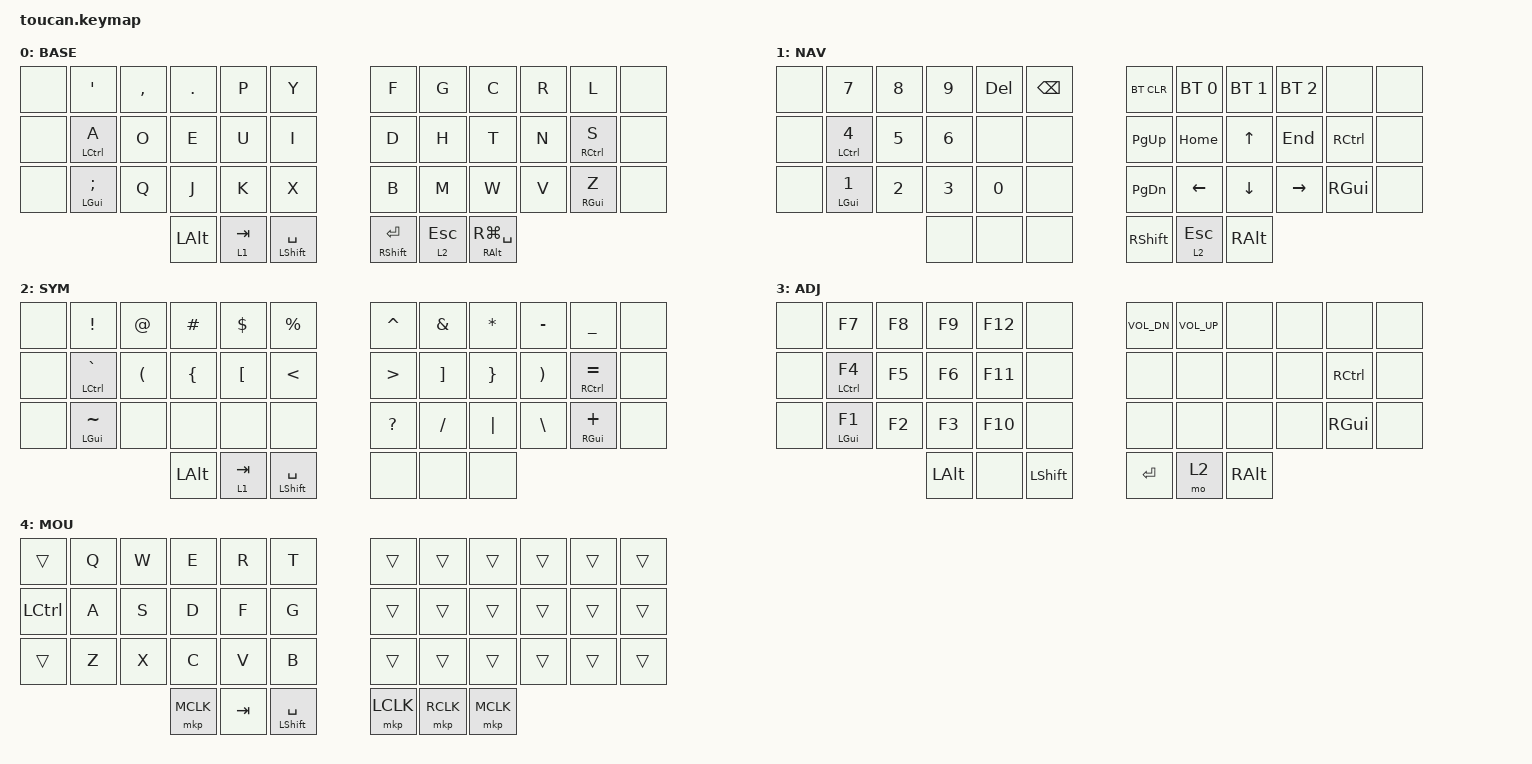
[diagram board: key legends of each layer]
#include <behaviors.dtsi>
#include <dt-bindings/zmk/keys.h>
#include <dt-bindings/zmk/bt.h>
#include <dt-bindings/zmk/outputs.h>
#include <dt-bindings/zmk/pointing.h>

#define BASE 0
#define NAV  1
#define SYM  2
#define ADJ  3

/ {
    conditional_layers {
        compatible = "zmk,conditional-layers";
        tri_layer {
            if-layers = <1 2>;
            then-layer = <3>;
        };
    };

        behaviors {
        mt: mod_tap {
            compatible = "zmk,behavior-hold-tap";
            #binding-cells = <2>;
            flavor = "balanced";
            tapping-term-ms = <180>;
            quick-tap-ms = <150>;
            bindings = <&kp>, <&kp>;
            display-name = "Mod-Tap";
        };
    };

    keymap {
        compatible = "zmk,keymap";

        base {
            display-name = "BASE";
            bindings = <
                 &none &kp SQT       &kp COMMA &kp DOT &kp P &kp Y    &kp F &kp G &kp C &kp R &kp L       &none
                 &none &mt LCTRL A   &kp O     &kp E   &kp U &kp I    &kp D &kp H &kp T &kp N &mt RCTRL S &none
                 &none &mt LGUI SEMI &kp Q     &kp J   &kp K &kp X    &kp B &kp M &kp W &kp V &mt RGUI Z  &none
                               &kp LALT &lt 1 TAB &mt LSHIFT SPACE    &mt RSHIFT RETURN  &lt 2 ESC &mt RALT RG(SPACE)
            >;
        };

        nav {
            display-name = "NAV";
            bindings = <
                &none &kp N7       &kp N8 &kp N9 &kp DEL &kp BSPC    &bt BT_CLR &bt BT_SEL 0 &bt BT_SEL 1 &bt BT_SEL 2 &none     &none
                &none &mt LCTRL N4 &kp N5 &kp N6 &none   &none       &kp PG_UP  &kp HOME     &kp UP       &kp END      &kp RCTRL &none
                &none &mt LGUI N1  &kp N2 &kp N3 &kp N0  &none       &kp PG_DN  &kp LEFT     &kp DOWN     &kp RIGHT    &kp RGUI  &none
                                                &none &none &none    &kp RSHIFT &lt 2 ESC &kp RALT
            >;
        };

        sym {
            display-name = "SYM";
            bindings = <
                &none &kp EXCL        &kp AT   &kp POUND &kp DLLR &kp PRCNT    &kp CARET &kp AMPS &kp STAR &kp MINUS &kp UNDER       &none
                &none &mt LCTRL GRAVE &kp LPAR &kp LBRC  &kp LBKT &kp LT       &kp GT    &kp RBKT &kp RBRC &kp RPAR  &mt RCTRL EQUAL &none
                &none &mt LGUI TILDE  &none    &none     &none    &none        &kp QMARK &kp FSLH &kp PIPE &kp BSLH  &mt RGUI PLUS   &none
                                        &kp LALT &lt 1 TAB &mt LSHIFT SPACE    &none &none &none
            >;
        };

        adj {
            display-name = "ADJ";
            bindings = <
                &none &kp F7       &kp F8 &kp F9 &kp F12 &none    &kp C_VOL_DN &kp C_VOL_UP &none &none &none     &none
                &none &mt LCTRL F4 &kp F5 &kp F6 &kp F11 &none    &none        &none        &none &none &kp RCTRL &none
                &none &mt LGUI F1  &kp F2 &kp F3 &kp F10 &none    &none        &none        &none &none &kp RGUI  &none
                                      &kp LALT &none &kp LSHIFT   &kp RET &mo 2 &kp RALT
            >;
        };

        mouse {
            display-name = "MOU";
            bindings = <
                &trans    &kp Q &kp W &kp E &kp R &kp T           &trans &trans &trans &trans &trans &trans
                &kp LCTRL &kp A &kp S &kp D &kp F &kp G           &trans &trans &trans &trans &trans &trans
                &trans    &kp Z &kp X &kp C &kp V &kp B           &trans &trans &trans &trans &trans &trans
                     &mkp MCLK &kp TAB &mt LSHIFT SPACE           &mkp LCLK &mkp RCLK &mkp MCLK
            >;
        };

        extra_2 {
                status = "reserved";
        };

        extra_3 {
                status = "reserved";
        };
    };
};
